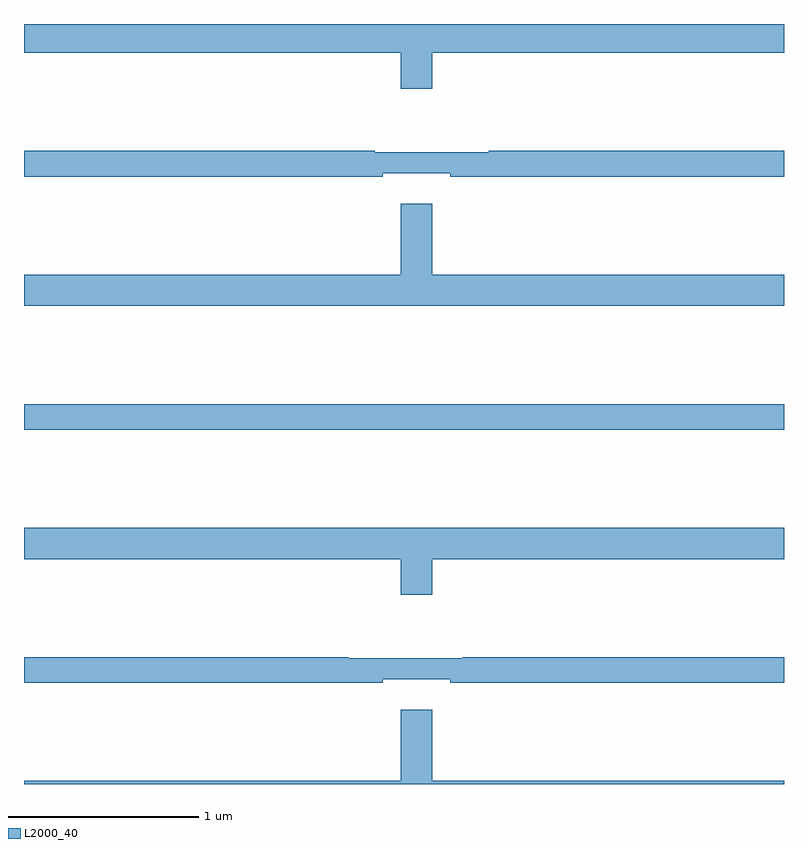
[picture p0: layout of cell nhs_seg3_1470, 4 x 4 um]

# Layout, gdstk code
import gdstk
lib = gdstk.Library(unit=1e-6, precision=1e-09)
def R(c, l, rs):  # rectangles x0, y0, x1, y1
    for r in rs: c.add(gdstk.rectangle(r[:2], r[2:], *l))
def P(c, l, *ps):  # polygons
    for p in ps: c.add(gdstk.Polygon(p, *l))
L2000_40 = (2000, 40)

nhs_seg3_1470 = lib.new_cell('nhs_seg3_1470')
R(nhs_seg3_1470, L2000_40, [(187,700.264,191,700.4)])
P(nhs_seg3_1470, L2000_40, [(187,702.248),(188.984,702.248),(188.984,702.06),(189.148,702.06),(189.148,702.248),(191,702.248),(191,702.4),(187,702.4)],
  [(188.888,701.615),(189.244,701.615),(189.244,701.596),(191,701.596),(191,701.732),(189.445,701.732),(189.445,701.725),(188.845,701.725),(188.845,701.732),(187,701.732),(187,701.596),(188.888,701.596)],
  [(191,701.08),(189.148,701.08),(189.148,701.455),(188.984,701.455),(188.984,701.08),(187,701.08),(187,700.916),(191,700.916)],
  [(189.148,699.584),(191,699.584),(191,699.748),(187,699.748),(187,699.584),(188.984,699.584),(188.984,699.396),(189.148,699.396)],
  [(188.888,698.951),(189.244,698.951),(189.244,698.932),(191,698.932),(191,699.068),(189.308,699.068),(189.308,699.061),(188.708,699.061),(188.708,699.068),(187,699.068),(187,698.932),(188.888,698.932)],
  [(191,698.416),(189.148,698.416),(189.148,698.791),(188.984,698.791),(188.984,698.416),(187,698.416),(187,698.4),(191,698.4)])

lib.write_gds('nhs_seg3_1470.gds')
